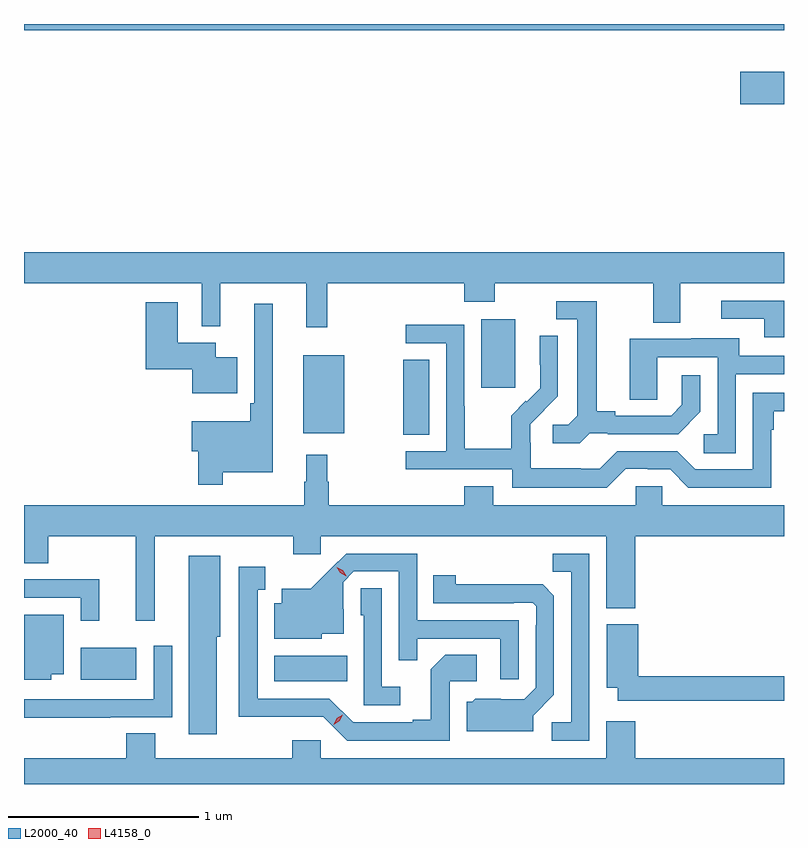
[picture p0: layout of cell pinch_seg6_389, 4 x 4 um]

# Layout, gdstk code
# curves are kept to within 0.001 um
import gdstk
lib = gdstk.Library(unit=1e-6, precision=1e-09)
def R(c, l, rs):  # rectangles x0, y0, x1, y1
    for r in rs: c.add(gdstk.rectangle(r[:2], r[2:], *l))
def P(c, l, *ps):  # polygons
    for p in ps: c.add(gdstk.Polygon(p, *l))
L2000_40 = (2000, 40)
L4158_0 = (4158, 0)

pinch_seg6_389 = lib.new_cell('pinch_seg6_389')
R(pinch_seg6_389, L2000_40, [(638.648,931.922,639.032,932.056), (637.628,931.928,637.921,932.098), (639.325,933.217,639.463,933.614), (638.801,933.227,639.016,933.637), (639.737,933.465,639.916,933.826), (641.1,934.958,641.33,935.128), (637.33,935.348,641.33,935.38)])
P(pinch_seg6_389, L2000_40, [(638.926,934.016),(639.647,934.016),(639.647,933.917),(639.807,933.917),(639.807,934.016),(640.643,934.016),(640.643,933.808),(640.783,933.808),(640.783,934.016),(641.33,934.016),(641.33,934.18),(637.33,934.18),(637.33,934.016),(638.265,934.016),(638.265,933.788),(638.363,933.788),(638.363,934.016),(638.816,934.016),(638.816,933.783),(638.926,933.783)],
  [(641.33,933.924),(641.001,933.924),(641.001,933.828),(641.225,933.828),(641.225,933.732),(641.33,933.732)],
  [(640.308,933.225),(640.402,933.225),(640.402,933.222),(640.774,933.222),(640.89,933.338),(640.89,933.532),(640.793,933.532),(640.793,933.375),(640.736,933.318),(640.441,933.318),(640.441,933.341),(640.345,933.341),(640.345,933.921),(640.131,933.921),(640.131,933.825),(640.241,933.825),(640.241,933.317),(640.194,933.27),(640.113,933.27),(640.113,933.173),(640.256,933.173)],
  [(638.452,933.625),(638.338,933.625),(638.338,933.703),(638.14,933.703),(638.14,933.916),(637.97,933.916),(637.97,933.563),(638.216,933.563),(638.216,933.437),(638.452,933.437)],
  [(638.377,933.02),(638.638,933.02),(638.638,933.907),(638.541,933.907),(638.541,933.385),(638.521,933.385),(638.521,933.289),(638.214,933.289),(638.214,933.131),(638.248,933.131),(638.248,932.955),(638.377,932.955)],
  [(640.497,933.039),(640.613,933.039),(640.613,933.036),(640.731,933.036),(640.827,932.94),(641.262,932.94),(641.262,933.245),(641.275,933.245),(641.275,933.342),(641.33,933.342),(641.33,933.438),(641.166,933.438),(641.166,933.036),(640.863,933.036),(640.767,933.132),(640.452,933.132),(640.359,933.039),(640.259,933.039),(640.259,933.043),(639.996,933.043),(639.996,933.177),(639.994,933.177),(639.994,933.274),(640.14,933.422),(640.14,933.74),(640.044,933.74),(640.044,933.586),(640.046,933.586),(640.046,933.464),(639.975,933.393),(639.972,933.396),(639.895,933.319),(639.895,933.145),(639.651,933.145),(639.651,933.368),(639.648,933.368),(639.648,933.798),(639.339,933.798),(639.339,933.699),(639.552,933.699),(639.552,933.132),(639.339,933.132),(639.339,933.036),(639.9,933.036),(639.9,932.939),(640.397,932.939)],
  [(641.076,933.537),(641.33,933.537),(641.33,933.633),(641.095,933.633),(641.095,933.727),(640.841,933.727),(640.841,933.723),(640.517,933.723),(640.517,933.403),(640.662,933.403),(640.662,933.627),(640.98,933.627),(640.98,933.222),(640.908,933.222),(640.908,933.121),(641.076,933.121)],
  [(637.33,932.542),(637.458,932.542),(637.458,932.684),(637.919,932.684),(637.919,932.238),(638.018,932.238),(638.018,932.684),(638.746,932.684),(638.746,932.589),(638.892,932.589),(638.892,932.684),(640.394,932.684),(640.394,932.306),(640.547,932.306),(640.547,932.684),(641.33,932.684),(641.33,932.848),(640.689,932.848),(640.689,932.946),(640.551,932.946),(640.551,932.848),(639.799,932.848),(639.799,932.947),(639.647,932.947),(639.647,932.848),(638.933,932.848),(638.933,932.972),(638.926,932.972),(638.926,933.112),(638.816,933.112),(638.816,932.972),(638.805,932.972),(638.805,932.848),(637.33,932.848)],
  [(639.933,932.241),(639.399,932.241),(639.399,932.592),(639.026,932.592),(638.839,932.407),(638.687,932.407),(638.687,932.331),(638.648,932.331),(638.648,932.144),(638.898,932.144),(638.898,932.171),(639.013,932.171),(639.013,932.3),(639.009,932.3),(639.009,932.442),(639.066,932.499),(639.303,932.499),(639.303,932.032),(639.401,932.032),(639.401,932.145),(639.837,932.145),(639.837,931.932),(639.933,931.932)],
  [(640.305,932.592),(640.114,932.592),(640.114,932.497),(640.209,932.497),(640.209,931.704),(640.107,931.704),(640.107,931.608),(640.305,931.608)],
  [(638.344,932.154),(638.362,932.154),(638.362,932.581),(638.198,932.581),(638.198,931.641),(638.344,931.641)],
  [(639.57,931.92),(639.712,931.92),(639.712,932.06),(639.547,932.06),(639.471,931.984),(639.471,931.717),(639.377,931.717),(639.377,931.704),(639.063,931.704),(638.937,931.83),(638.56,931.83),(638.56,932.403),(638.599,932.403),(638.599,932.524),(638.459,932.524),(638.459,931.733),(638.904,931.734),(639.03,931.608),(639.57,931.608)],
  [(640.009,931.74),(640.119,931.85),(640.119,932.372),(640.06,932.431),(639.603,932.432),(639.603,932.479),(639.484,932.479),(639.484,932.331),(639.908,932.331),(639.908,932.334),(640.008,932.334),(640.026,932.316),(640.026,932.216),(640.023,932.216),(640.023,931.887),(639.963,931.827),(639.706,931.828),(639.69,931.812),(639.659,931.812),(639.659,931.658),(640.009,931.658)],
  [(637.727,932.457),(637.33,932.457),(637.33,932.361),(637.629,932.361),(637.629,932.238),(637.727,932.238)],
  [(639.31,931.891),(639.213,931.891),(639.213,932.411),(639.102,932.411),(639.102,932.268),(639.117,932.268),(639.117,931.794),(639.31,931.794)],
  [(637.474,931.958),(637.54,931.958),(637.54,932.272),(637.33,932.272),(637.33,931.928),(637.474,931.928)],
  [(641.33,931.946),(640.564,931.946),(640.564,932.221),(640.397,932.221),(640.397,931.886),(640.454,931.886),(640.454,931.818),(641.33,931.818)],
  [(637.784,931.731),(638.109,931.731),(638.109,932.107),(638.013,932.107),(638.013,931.827),(637.33,931.827),(637.33,931.73),(637.784,931.73)],
  [(641.33,931.516),(640.547,931.516),(640.547,931.711),(640.394,931.711),(640.394,931.516),(638.892,931.516),(638.892,931.609),(638.741,931.609),(638.741,931.516),(638.02,931.516),(638.02,931.646),(637.868,931.646),(637.868,931.516),(637.33,931.516),(637.33,931.38),(641.33,931.38)])
P(pinch_seg6_389, L4158_0, [(639.026,932.474),(638.994,932.491),(638.977,932.522),(638.977,932.522),(638.977,932.522),(639.008,932.505),(639.026,932.475),(639.026,932.474)],
  [(638.96,931.693),(638.96,931.693),(638.977,931.726),(639.008,931.745),(639.008,931.745),(639.008,931.744),(638.992,931.712),(638.96,931.693)])

lib.write_gds('pinch_seg6_389.gds')
